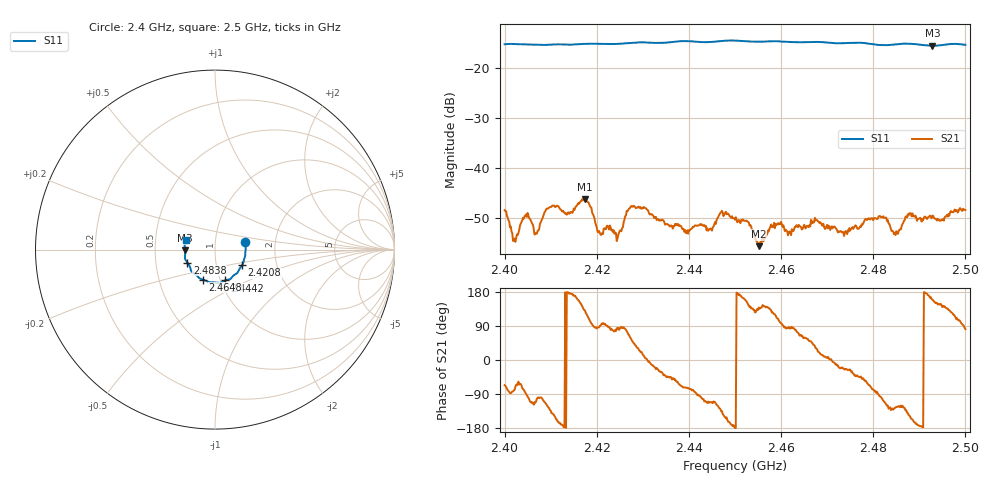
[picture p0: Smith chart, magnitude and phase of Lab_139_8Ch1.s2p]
# Hz S RI R 50
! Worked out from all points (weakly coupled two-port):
!   601 points, 2.4 GHz to 2.5 GHz, reference 50 ohm
!   highest |S21| = -46.25 dB at 2.4175 GHz (marker M1); lowest = -55.7 dB at 2.4552 GHz (marker M2)
!   lowest |S11| = -15.6 dB at 2.4928 GHz (marker M3), VSWR 1.40, Z = 35.7 - j0.335 ohm
!   |S11| at or under -10 dB: start of sweep to end of sweep
!   S12 and S22 are empty: the file has one direction only
!   S11 on the Smith chart (normalised r, x): 2.4 GHz: 1.40, +0.12; 2.4208 GHz: 1.33, -0.24; 2.4442 GHz: 1.05, -0.37; 2.4648 GHz: 0.83, -0.29; 2.4838 GHz: 0.73, -0.11; 2.5 GHz: 0.72, +0.08
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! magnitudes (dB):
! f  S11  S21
! 2.4 GHz  -15.3  -48.5
! 2.4023 GHz  -15.2  -54.8
! 2.4045 GHz  -15.3  -49.6
! 2.407 GHz  -15.4  -53.2
! 2.4095 GHz  -15.4  -48.1
! 2.4167 GHz  -15.2  -46.7
! 2.4175 GHz  -15.2  -46.2
! 2.4208 GHz  -15.2  -53.4
! 2.4248 GHz  -15.2  -53.0
! 2.4277 GHz  -15.0  -47.8
! 2.4333 GHz  -15.0  -50.3
! 2.4442 GHz  -14.9  -52.6
! 2.4468 GHz  -14.7  -49.0
! 2.45 GHz  -14.5  -50.4
! 2.4552 GHz  -14.8  -55.7
! 2.458 GHz  -14.7  -51.9
! 2.4648 GHz  -14.9  -51.9
! 2.4667 GHz  -14.8  -51.1
! 2.4833 GHz  -15.4  -51.2
! 2.4838 GHz  -15.4  -52.2
! 2.4928 GHz  -15.6  -49.6
! 2.5 GHz  -15.4  -48.5
